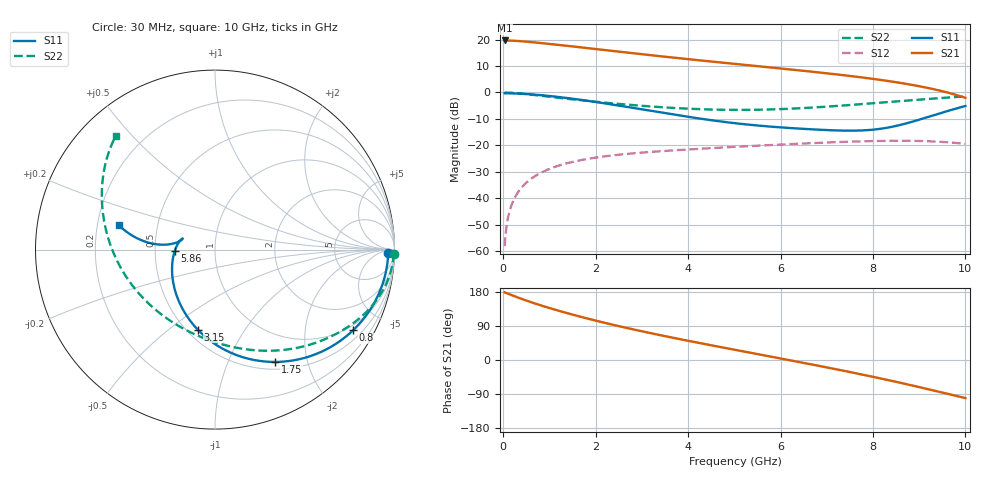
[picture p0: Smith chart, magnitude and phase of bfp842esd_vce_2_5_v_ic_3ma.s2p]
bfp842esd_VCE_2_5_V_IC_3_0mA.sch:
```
<Qucs Schematic 0.0.20>
<Properties>
  <View=0,0,1429,800,1,0,0>
  <Grid=10,10,1>
  <DataSet=bfp842esd-s-param_VCE_2_5_V_IC_3_0mA.dat>
  <DataDisplay=bfp842esd-s-param_VCE_2_5_V_IC_3_0mA.dpl>
  <OpenDisplay=1>
  <Script=bfp842esd-s-param_VCE_2_5_V_IC_3_0mA.m>
  <RunScript=0>
  <showFrame=0>
  <FrameText0=Title>
  <FrameText1=Drawn By:>
  <FrameText2=Date:>
  <FrameText3=Revision:>
</Properties>
<Symbol>
</Symbol>
<Components>
  <Pac P1 1 400 270 18 -26 0 1 "1" 1 "50 Ohm" 1 "0 dBm" 0 "1 GHz" 0 "26.85" 0>
  <Pac P2 1 820 270 18 -26 0 1 "2" 1 "50 Ohm" 1 "0 dBm" 0 "1 GHz" 0 "26.85" 0>
  <GND * 5 400 340 0 0 0 0>
  <GND * 5 820 340 0 0 0 0>
  <GND * 5 610 340 0 0 0 0>
  <Eqn decibel 1 710 520 -31 15 0 0 "S21=S[2,1]" 1 "S21dB=dB(S21)" 1 "yes" 0>
  <Eqn EqnNoiseStab1 1 870 520 -31 15 0 0 "K=StabFactor(S)" 1 "Fmindb=w2dbm(Fmin)-30" 1 "Fdb=w2dbm(F)-30" 1 "yes" 0>
  <.SP SP1 1 280 490 0 59 0 0 "lin" 1 "30 MHz" 1 "10 GHz" 1 "1999" 1 "yes" 0 "1" 0 "2" 0 "no" 0 "no" 0>
  <SPfile X1 1 610 220 -26 -59 0 0 "../s2p/bfp842esd_vce_2_5_v_ic_3ma.s2p" 1 "rectangular" 0 "linear" 0 "open" 0 "2" 0>
</Components>
<Wires>
  <610 250 610 340 "" 0 0 0 "">
  <400 300 400 340 "" 0 0 0 "">
  <820 300 820 340 "" 0 0 0 "">
  <400 220 400 240 "" 0 0 0 "">
  <400 220 580 220 "" 0 0 0 "">
  <640 220 820 220 "" 0 0 0 "">
  <820 220 820 240 "" 0 0 0 "">
</Wires>
<Diagrams>
</Diagrams>
<Paintings>
</Paintings>
```
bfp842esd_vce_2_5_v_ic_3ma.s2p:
!2-port S-parameter file
!Title: test for scattering parameters
!Generated by ngspice at Tue Jul 20 11:23:25  2021
# Hz S RI R 50
!freq  ReS11  ImS11  ReS21  ImS21  ReS12  ImS12  ReS22  ImS22
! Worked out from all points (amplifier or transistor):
!   998 points, 30 MHz to 10 GHz, reference 50 ohm
!   highest |S21| = 19.6 dB at 30 MHz (marker M1)
!   |S21| within 3 dB of that: start of sweep to 1.881 GHz
!   unconditionally stable (mu >= 1): 3.754 GHz to end of sweep
!   at 1.69 GHz: K = 0.49, MSG = 21.3 dB, |S12| = -25.5 dB
!   at 5.02 GHz: K = 1.20, MAG = 12.9 dB, |S12| = -20.6 dB
!   at 10 GHz: K = 1.48, MAG = 4.6 dB, |S12| = -19.4 dB
!   S11 on the Smith chart (normalised r, x): 30 MHz: 42, -25; 800 MHz: 0.81, -3.53; 1.75 GHz: 0.60, -1.51; 3.15 GHz: 0.57, -0.64; 5.86 GHz: 0.63, -0.01; 10 GHz: 0.29, +0.12
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3e7  0.965 -0.0199  -9.592 0.245  2.34e-05 0.00125  0.9954 -0.0221
2.6e8  0.941 -0.1688  -9.22 2.041  0.00164 0.0105  0.9579 -0.1816
8e8  0.77 -0.4488  -7.011 4.972  0.0123 0.0273  0.7607 -0.4168
1.25e9  0.5663 -0.5805  -4.838 6.14  0.0241 0.0353  0.5962 -0.5061
1.75e9  0.337 -0.6259  -2.584 6.503  0.0375 0.039  0.4355 -0.5516
3.15e9  -0.0963 -0.4458  1.587 4.849  0.0672 0.0329  0.0873 -0.5397
4.02e9  -0.2065 -0.2753  2.709 3.256  0.0805 0.0239  -0.0812 -0.4857
5.02e9  -0.2394 -0.1065  3.087 1.553  0.0933 0.0101  -0.2541 -0.3931
5.86e9  -0.2234 -0.00542  2.897 0.3708  0.1021 -0.00563  -0.3855 -0.2853
7.93e9  -0.1883 0.0526  1.355 -1.245  0.1 -0.067  -0.6083 0.1128
1e10  -0.5375 0.1374  -0.1444 -0.7789  0.0102 -0.1062  -0.5517 0.6355
